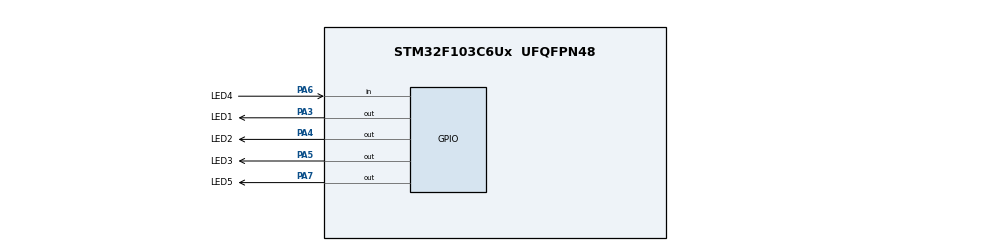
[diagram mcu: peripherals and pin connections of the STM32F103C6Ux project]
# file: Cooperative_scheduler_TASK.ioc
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Mcu.Family=STM32F1
Mcu.Name=STM32F103C6Ux
Mcu.Package=UFQFPN48
NVIC.PriorityGroup=NVIC_PRIORITYGROUP_4
NVIC.TIM2_IRQn=true\:0\:0\:false\:false\:true\:true\:true
PA13.Mode=Serial_Wire
PA13.Signal=SYS_JTMS-SWDIO
PA14.Mode=Serial_Wire
PA14.Signal=SYS_JTCK-SWCLK
PA3.GPIO_Label=LED1
PA3.Signal=GPIO_Output
PA4.GPIO_Label=LED2
PA4.Signal=GPIO_Output
PA5.GPIO_Label=LED3
PA5.Signal=GPIO_Output
PA6.GPIO_Label=LED4
PA6.Signal=GPIO_Input
PA7.GPIO_Label=LED5
PA7.Signal=GPIO_Output
ProjectManager.HeapSize=0x200
ProjectManager.StackSize=0x400
ProjectManager.TargetToolchain=STM32CubeIDE
RCC.APB1Freq_Value=8000000
RCC.APB2Freq_Value=8000000
TIM2.Period=9
TIM2.Prescaler=7999
VP_TIM2_VS_ClockSourceINT.Mode=Internal
board=custom

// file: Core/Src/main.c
/* USER CODE BEGIN Header */
/**
  ******************************************************************************
  * @file           : main.c
  * @brief          : Main program body
  ******************************************************************************
  * @attention
  *
  * <h2><center>&copy; Copyright (c) 2025 STMicroelectronics.
  * All rights reserved.</center></h2>
  *
  * This software component is licensed by ST under BSD 3-Clause license,
  * the "License"; You may not use this file except in compliance with the
  * License. You may obtain a copy of the License at:
  *                        opensource.org/licenses/BSD-3-Clause
  *
  ******************************************************************************
  */
/* USER CODE END Header */
#include "main.h"

/* USER CODE BEGIN Includes */
#include "scheduler.h"
#include "Tasks.h"
/* USER CODE END Includes */

TIM_HandleTypeDef htim2;

void SystemClock_Config(void);
static void MX_GPIO_Init(void);
static void MX_TIM2_Init(void);

/* USER CODE BEGIN 4 */
void HAL_TIM_PeriodElapsedCallback(TIM_HandleTypeDef *htim)
{
    if (htim->Instance == TIM2) {
        SCH_Update();
    }
}
/**
  * @brief  The application entry point.
  * @retval int
  */
int main(void)
{
  /* USER CODE BEGIN 1 */

  /* USER CODE END 1 */

  /* MCU Configuration--------------------------------------------------------*/

  /* Reset of all peripherals, Initializes the Flash interface and the Systick. */
  HAL_Init();

  /* USER CODE BEGIN Init */

  /* USER CODE END Init */

  /* Configure the system clock */
  SystemClock_Config();

  /* USER CODE BEGIN SysInit */

  /* USER CODE END SysInit */

  /* Initialize all configured peripherals */
  MX_GPIO_Init();
  MX_TIM2_Init();
  /* USER CODE BEGIN 2 */

  // Initialize scheduler
  SCH_Init();
  //         ============== ADD TASKS =============

  // TASKS 1: 0.5s = 500ms = 50 ticks
    SCH_Add_Task(Task_LED1, 0, 500 / TIMER_TICK_MS);

    // TASKS 2: 1s = 1000ms = 100 ticks
    SCH_Add_Task(Task_LED2, 0, 1000 / TIMER_TICK_MS);

    // TASKS 3: 1.5s = 1500ms = 150 ticks
    SCH_Add_Task(Task_LED3, 0, 1500 / TIMER_TICK_MS);

    // TASKS 4: 2s = 2000ms = 200 ticks
    SCH_Add_Task(Task_LED4, 0, 2000 / TIMER_TICK_MS);

    // TASKS 5: 2.5s = 2500ms = 250 ticks
    SCH_Add_Task(Task_LED5, 0, 2500 / TIMER_TICK_MS);

    //      ============= END ADD TASKS ===========

    HAL_TIM_Base_Start_IT(&htim2);
  /* USER CODE END 2 */

  /* Infinite loop */
  /* USER CODE BEGIN WHILE */
  while (1)
  {
    /* USER CODE END WHILE */
	  SCH_Dispatch_Tasks();
    /* USER CODE BEGIN 3 */
  }
  /* USER CODE END 3 */
}

/**
  * @brief System Clock Configuration
  * @retval None
  */
void SystemClock_Config(void)
{
  RCC_OscInitTypeDef RCC_OscInitStruct = {0};
  RCC_ClkInitTypeDef RCC_ClkInitStruct = {0};

  /** Initializes the RCC Oscillators according to the specified parameters
  * in the RCC_OscInitTypeDef structure.
  */
  RCC_OscInitStruct.OscillatorType = RCC_OSCILLATORTYPE_HSI;
  RCC_OscInitStruct.HSIState = RCC_HSI_ON;
  RCC_OscInitStruct.HSICalibrationValue = RCC_HSICALIBRATION_DEFAULT;
  RCC_OscInitStruct.PLL.PLLState = RCC_PLL_NONE;
  if (HAL_RCC_OscConfig(&RCC_OscInitStruct) != HAL_OK)
  {
    Error_Handler();
  }
  /** Initializes the CPU, AHB and APB buses clocks
  */
  RCC_ClkInitStruct.ClockType = RCC_CLOCKTYPE_HCLK|RCC_CLOCKTYPE_SYSCLK
                              |RCC_CLOCKTYPE_PCLK1|RCC_CLOCKTYPE_PCLK2;
  RCC_ClkInitStruct.SYSCLKSource = RCC_SYSCLKSOURCE_HSI;
  RCC_ClkInitStruct.AHBCLKDivider = RCC_SYSCLK_DIV1;
  RCC_ClkInitStruct.APB1CLKDivider = RCC_HCLK_DIV1;
  RCC_ClkInitStruct.APB2CLKDivider = RCC_HCLK_DIV1;

  if (HAL_RCC_ClockConfig(&RCC_ClkInitStruct, FLASH_LATENCY_0) != HAL_OK)
  {
    Error_Handler();
  }
}

/**
  * @brief TIM2 Initialization Function
  * @param None
  * @retval None
  */
static void MX_TIM2_Init(void)
{

  /* USER CODE BEGIN TIM2_Init 0 */

  /* USER CODE END TIM2_Init 0 */

  TIM_ClockConfigTypeDef sClockSourceConfig = {0};
  TIM_MasterConfigTypeDef sMasterConfig = {0};

  /* USER CODE BEGIN TIM2_Init 1 */

  /* USER CODE END TIM2_Init 1 */
  htim2.Instance = TIM2;
  htim2.Init.Prescaler = 7999;
  htim2.Init.CounterMode = TIM_COUNTERMODE_UP;
  htim2.Init.Period = 9;
  htim2.Init.ClockDivision = TIM_CLOCKDIVISION_DIV1;
  htim2.Init.AutoReloadPreload = TIM_AUTORELOAD_PRELOAD_DISABLE;
  if (HAL_TIM_Base_Init(&htim2) != HAL_OK)
  {
    Error_Handler();
  }
  sClockSourceConfig.ClockSource = TIM_CLOCKSOURCE_INTERNAL;
  if (HAL_TIM_ConfigClockSource(&htim2, &sClockSourceConfig) != HAL_OK)
  {
    Error_Handler();
  }
  sMasterConfig.MasterOutputTrigger = TIM_TRGO_RESET;
  sMasterConfig.MasterSlaveMode = TIM_MASTERSLAVEMODE_DISABLE;
  if (HAL_TIMEx_MasterConfigSynchronization(&htim2, &sMasterConfig) != HAL_OK)
  {
    Error_Handler();
  }
  /* USER CODE BEGIN TIM2_Init 2 */

  /* USER CODE END TIM2_Init 2 */

}

/**
  * @brief GPIO Initialization Function
  * @param None
  * @retval None
  */
static void MX_GPIO_Init(void)
{
  GPIO_InitTypeDef GPIO_InitStruct = {0};

  /* GPIO Ports Clock Enable */
  __HAL_RCC_GPIOA_CLK_ENABLE();

  /*Configure GPIO pin Output Level */
  HAL_GPIO_WritePin(GPIOA, LED1_Pin|LED2_Pin|LED3_Pin|LED4_Pin
                          |LED5_Pin, GPIO_PIN_RESET);

  /*Configure GPIO pins : LED1_Pin LED2_Pin LED3_Pin LED4_Pin
                           LED5_Pin */
  GPIO_InitStruct.Pin = LED1_Pin|LED2_Pin|LED3_Pin|LED4_Pin
                          |LED5_Pin;
  GPIO_InitStruct.Mode = GPIO_MODE_OUTPUT_PP;
  GPIO_InitStruct.Pull = GPIO_NOPULL;
  GPIO_InitStruct.Speed = GPIO_SPEED_FREQ_LOW;
  HAL_GPIO_Init(GPIOA, &GPIO_InitStruct);

}

/* USER CODE END 4 */

void Error_Handler(void)
{
  __disable_irq();
  while (1)
  {
  }
}

/************************ (C) COPYRIGHT STMicroelectronics *****END OF FILE****/
